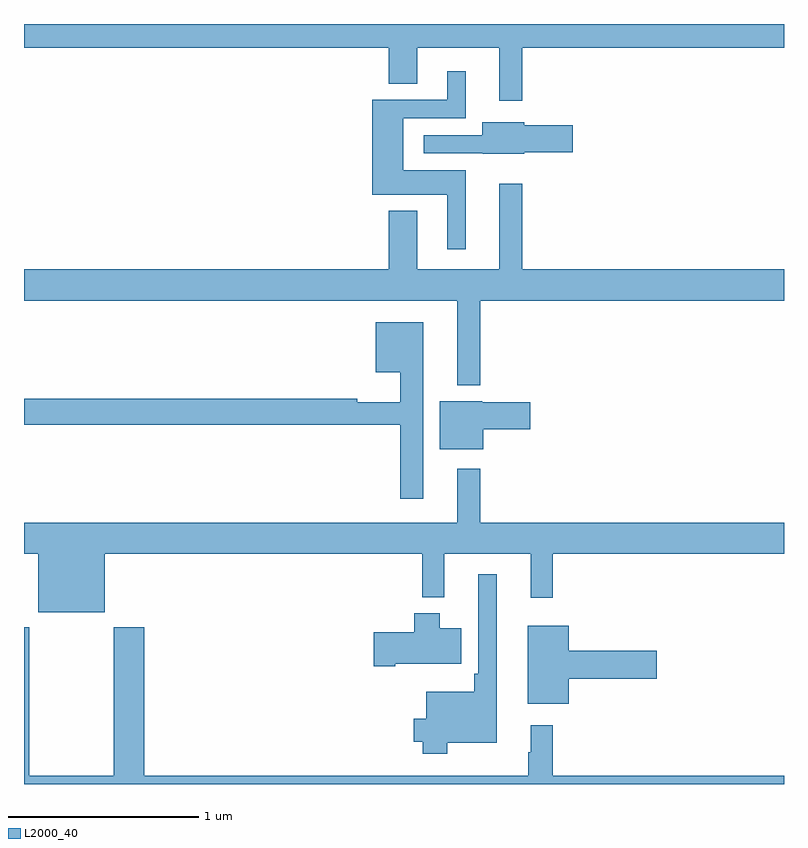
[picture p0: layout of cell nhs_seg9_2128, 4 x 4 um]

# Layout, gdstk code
import gdstk
lib = gdstk.Library(unit=1e-6, precision=1e-09)
def P(c, l, *ps):  # polygons
    for p in ps: c.add(gdstk.Polygon(p, *l))
L2000_40 = (2000, 40)

nhs_seg9_2128 = lib.new_cell('nhs_seg9_2128')
P(nhs_seg9_2128, L2000_40, [(233.623,1240.376),(235,1240.376),(235,1240.5),(231,1240.5),(231,1240.376),(232.919,1240.376),(232.919,1240.186),(233.071,1240.186),(233.071,1240.376),(233.501,1240.376),(233.501,1240.095),(233.623,1240.095)],
  [(233.326,1239.73),(232.996,1239.73),(232.996,1240.005),(233.326,1240.005),(233.326,1240.252),(233.228,1240.252),(233.228,1240.101),(232.832,1240.101),(232.832,1239.602),(233.228,1239.602),(233.228,1239.315),(233.326,1239.315)],
  [(233.634,1239.824),(233.887,1239.824),(233.887,1239.966),(233.634,1239.966),(233.634,1239.982),(233.411,1239.982),(233.411,1239.915),(233.103,1239.915),(233.103,1239.819),(233.415,1239.819),(233.415,1239.818),(233.634,1239.818)],
  [(233.401,1239.044),(235,1239.044),(235,1239.208),(233.623,1239.208),(233.623,1239.658),(233.501,1239.658),(233.501,1239.208),(233.071,1239.208),(233.071,1239.517),(232.919,1239.517),(232.919,1239.208),(231,1239.208),(231,1239.044),(233.279,1239.044),(233.279,1238.6),(233.401,1238.6)],
  [(233.101,1238.929),(232.85,1238.929),(232.85,1238.666),(232.98,1238.666),(232.98,1238.509),(232.754,1238.509),(232.754,1238.528),(231,1238.528),(231,1238.392),(232.98,1238.392),(232.98,1238.001),(233.101,1238.001)],
  [(233.416,1238.368),(233.665,1238.368),(233.665,1238.51),(233.412,1238.51),(233.412,1238.515),(233.189,1238.515),(233.189,1238.261),(233.416,1238.261)],
  [(231.424,1237.712),(233.095,1237.712),(233.095,1237.484),(233.213,1237.484),(233.213,1237.712),(233.666,1237.712),(233.666,1237.479),(233.783,1237.479),(233.783,1237.712),(235,1237.712),(235,1237.876),(233.401,1237.876),(233.401,1238.158),(233.279,1238.158),(233.279,1237.876),(231,1237.876),(231,1237.712),(231.074,1237.712),(231.074,1237.403),(231.424,1237.403)],
  [(233.227,1236.716),(233.488,1236.716),(233.488,1237.603),(233.391,1237.603),(233.391,1237.081),(233.371,1237.081),(233.371,1236.985),(233.117,1236.985),(233.117,1236.844),(233.051,1236.844),(233.051,1236.722),(233.098,1236.722),(233.098,1236.659),(233.227,1236.659)],
  [(232.954,1237.133),(233.302,1237.133),(233.302,1237.321),(233.188,1237.321),(233.188,1237.399),(233.054,1237.399),(233.054,1237.299),(232.842,1237.299),(232.842,1237.121),(232.954,1237.121)],
  [(233.866,1237.055),(234.331,1237.055),(234.331,1237.202),(233.866,1237.202),(233.866,1237.333),(233.651,1237.333),(233.651,1236.923),(233.866,1236.923)],
  [(235,1236.544),(233.783,1236.544),(233.783,1236.808),(233.666,1236.808),(233.666,1236.668),(233.655,1236.668),(233.655,1236.544),(231.632,1236.544),(231.632,1237.324),(231.472,1237.324),(231.472,1236.544),(231.027,1236.544),(231.027,1237.324),(231,1237.324),(231,1236.5),(235,1236.5)])

lib.write_gds('nhs_seg9_2128.gds')
